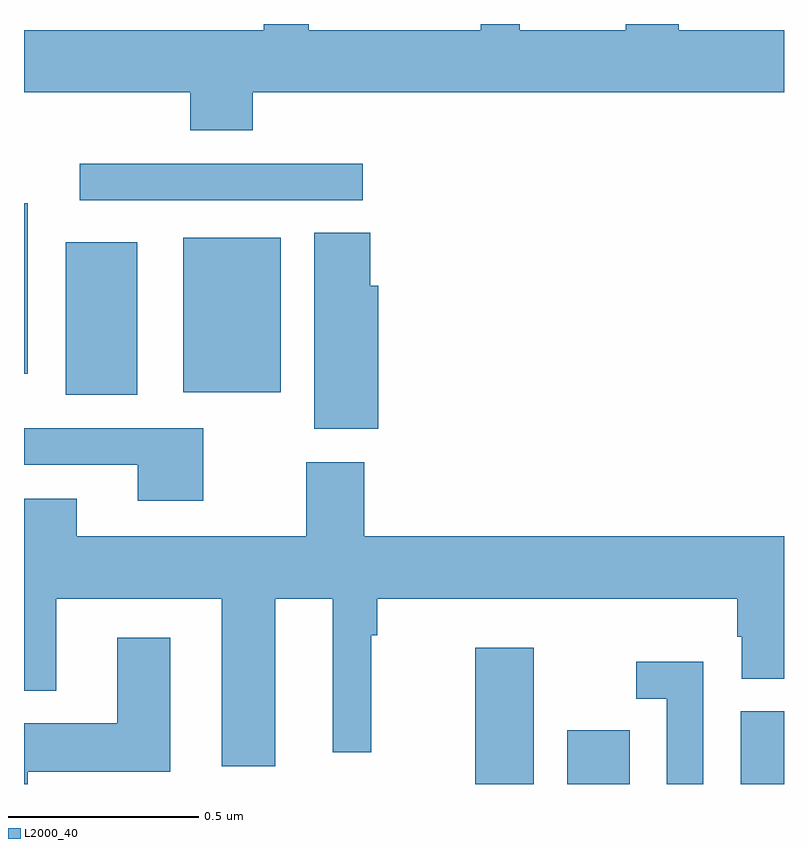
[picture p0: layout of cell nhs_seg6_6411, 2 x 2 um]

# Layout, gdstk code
import gdstk
lib = gdstk.Library(unit=1e-6, precision=1e-09)
def R(c, l, rs):  # rectangles x0, y0, x1, y1
    for r in rs: c.add(gdstk.rectangle(r[:2], r[2:], *l))
def P(c, l, *ps):  # polygons
    for p in ps: c.add(gdstk.Polygon(p, *l))
L2000_40 = (2000, 40)

nhs_seg6_6411 = lib.new_cell('nhs_seg6_6411')
R(nhs_seg6_6411, L2000_40, [(196.187,961.5,196.342,961.858), (196.43,961.5,196.594,961.642), (196.886,961.5,197,961.692), (195.11,962.525,195.298,962.926), (195.419,962.531,195.676,962.938), (195,962.58,195.01,963.028), (195.147,963.036,195.892,963.132)])
P(nhs_seg6_6411, L2000_40, [(195.602,963.32),(197,963.32),(197,963.484),(196.723,963.484),(196.723,963.5),(196.583,963.5),(196.583,963.484),(196.304,963.484),(196.304,963.5),(196.202,963.5),(196.202,963.484),(195.749,963.484),(195.749,963.5),(195.631,963.5),(195.631,963.484),(195,963.484),(195,963.32),(195.437,963.32),(195.437,963.221),(195.602,963.221)],
  [(195.932,962.811),(195.911,962.811),(195.911,962.951),(195.764,962.951),(195.764,962.435),(195.932,962.435)],
  [(195.472,962.436),(195,962.436),(195,962.34),(195.299,962.34),(195.299,962.246),(195.472,962.246)],
  [(195.812,961.584),(195.914,961.584),(195.914,961.892),(195.929,961.892),(195.929,961.988),(196.877,961.988),(196.877,961.887),(196.889,961.887),(196.889,961.777),(197,961.777),(197,962.152),(195.896,962.152),(195.896,962.347),(195.743,962.347),(195.743,962.152),(195.139,962.152),(195.139,962.251),(195,962.251),(195,961.745),(195.085,961.745),(195.085,961.988),(195.521,961.988),(195.521,961.547),(195.661,961.547),(195.661,961.988),(195.812,961.988)],
  [(195.01,961.532),(195.385,961.532),(195.385,961.885),(195.245,961.885),(195.245,961.66),(195,961.66),(195,961.5),(195.01,961.5)],
  [(196.788,961.822),(196.611,961.822),(196.611,961.725),(196.692,961.725),(196.692,961.5),(196.788,961.5)])

lib.write_gds('nhs_seg6_6411.gds')
